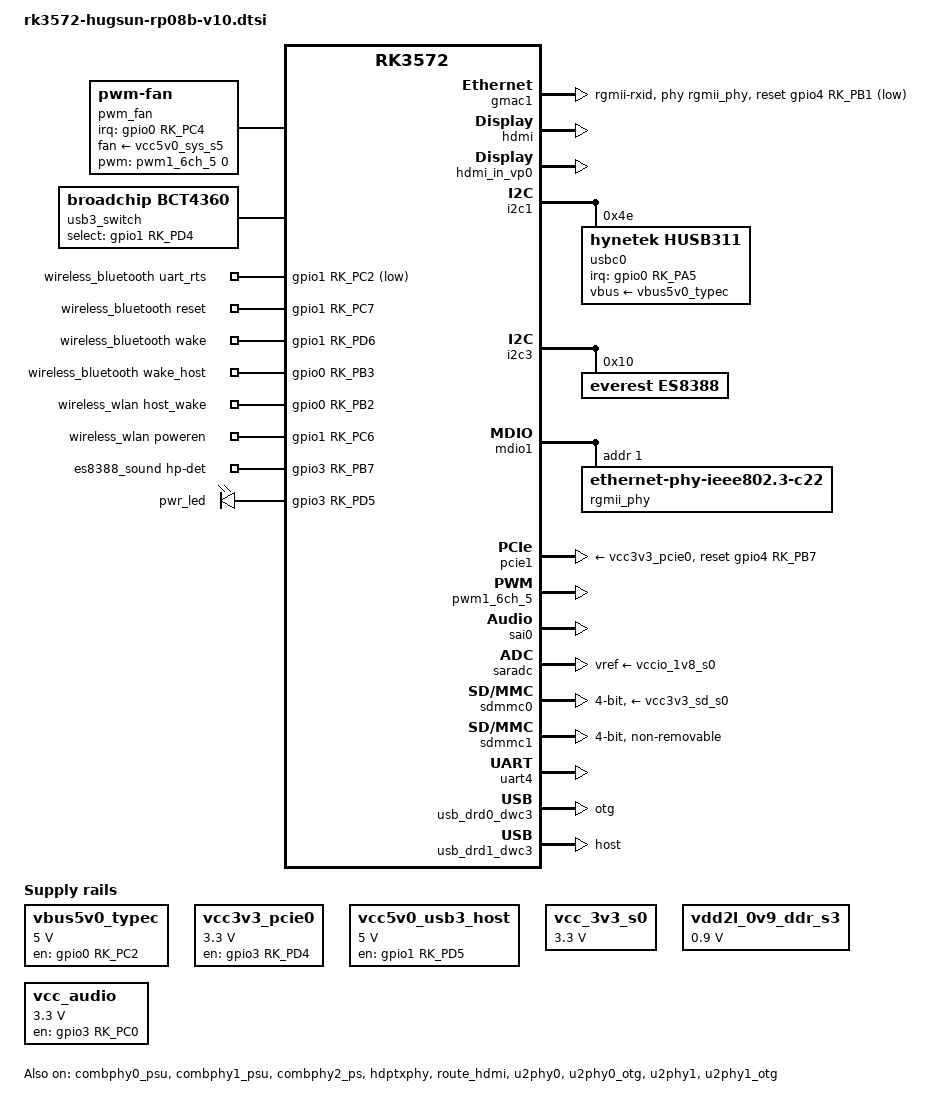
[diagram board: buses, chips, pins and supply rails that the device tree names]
// SPDX-License-Identifier: (GPL-2.0+ OR MIT)
/*
 * Copyright (c) 2025 Rockchip Electronics Co., Ltd.
 */

#include <dt-bindings/usb/pd.h>
#include "rk3572.dtsi"
#include "rk3572-hugsun.dtsi"
#include "rk3572-rk806.dtsi"

#include "rk3572_cam1_imx415.dtsi"
#include "rk3572-rp08b-mipi.dtsi"
/ {
	pwm_fan: pwm-fan {
		compatible = "pwm-fan";
		pwms = <&pwm1_6ch_5 0 40000 PWM_POLARITY_INVERTED>;
		#cooling-cells = <2>;
		cooling-levels = <255 170 85 0>;
		fan-supply = <&vcc5v0_sys_s5>;
		pinctrl-names = "default";
		pinctrl-0 = <&fan_tach>;	
		interrupt-parent = <&gpio0>;
		interrupts = <RK_PC4 IRQ_TYPE_EDGE_RISING>;
		pulses-per-revolution = <2>;
	};	

	/*
	buzzer: pwm-beeper {
		compatible = "pwm-beeper";
		amp-supply = <&vcc5v0_sys_s5>;
		beeper-hz = <500>;
		pwms = <&pwm8 0 500000 0>;
	};
	*/	

	sdio_pwrseq: sdio-pwrseq {
		compatible = "mmc-pwrseq-simple";
		pinctrl-names = "default";
		pinctrl-0 = <&wifi_poweren_gpio>;
	};

	usb3_switch: usb3-switch {
		compatible = "broadchip,bct4360", "gpio-sbu-mux";
		select-gpios = <&gpio1 RK_PD4 GPIO_ACTIVE_HIGH>;
		pinctrl-names = "default";
		pinctrl-0 = <&usb3_switch_default>;
		orientation-switch;
	};

	vbus5v0_typec: vbus5v0-typec {
		compatible = "regulator-fixed";
		regulator-name = "vbus5v0_typec";
		regulator-min-microvolt = <5000000>;
		regulator-max-microvolt = <5000000>;
		enable-active-high;
		gpio = <&gpio0 RK_PC2 GPIO_ACTIVE_HIGH>;
		pinctrl-names = "default";
		pinctrl-0 = <&usb_drd0_pwren>;
	};

	vcc3v3_pcie0: vcc3v3-pcie0 {
		compatible = "regulator-fixed";
		regulator-name = "vcc3v3_pcie0";
		enable-active-high;
		regulator-min-microvolt = <3300000>;
		regulator-max-microvolt = <3300000>;
		gpio = <&gpio3 RK_PD4 GPIO_ACTIVE_HIGH>;
	};

	vcc5v0_usb3_host: vcc5v0-usb3-host {
		compatible = "regulator-fixed";
		regulator-name = "vcc5v0_usb3_host";
		regulator-boot-on;
		regulator-always-on;
		regulator-min-microvolt = <5000000>;
		regulator-max-microvolt = <5000000>;
		enable-active-high;
		gpio = <&gpio1 RK_PD5 GPIO_ACTIVE_HIGH>;
		pinctrl-names = "default";
		pinctrl-0 = <&usb_drd1_pwren>;
	};

	vcc_3v3_s0: vcc-3v3-s0 {
		compatible = "regulator-fixed";
		regulator-name = "vcc_3v3_s0";
		regulator-boot-on;
		regulator-always-on;
		regulator-min-microvolt = <3300000>;
		regulator-max-microvolt = <3300000>;
	};

	vdd2l_0v9_ddr_s3: vdd2l-0v9-ddr-s3 {
		compatible = "regulator-fixed";
		regulator-name = "vdd2l_0v9_ddr_s3";
		regulator-boot-on;
		regulator-always-on;
		regulator-min-microvolt = <900000>;
		regulator-max-microvolt = <900000>;
	};

	/* GPIO3_C0: audio/headphone-amp power supply, active high, always on.
	 * (was hp-con-gpio of es8388-sound, gated by DAPM during playback)
	 */
	vcc_audio: vcc-audio {
		compatible = "regulator-fixed";
		regulator-name = "vcc_audio";
		regulator-boot-on;
		regulator-always-on;
		regulator-min-microvolt = <3300000>;
		regulator-max-microvolt = <3300000>;
		enable-active-high;
		gpio = <&gpio3 RK_PC0 GPIO_ACTIVE_HIGH>;
		pinctrl-names = "default";
		pinctrl-0 = <&hp_con>;
	};

	wireless_bluetooth: wireless-bluetooth {
		compatible = "bluetooth-platdata";
		bt_port = "/dev/ttyS4";
		uart_rts-gpios = <&gpio1 RK_PC2 GPIO_ACTIVE_LOW>;
		pinctrl-names = "default", "rts_gpio";
		pinctrl-0 = <&uart4m1_rtsn_pins>;
		pinctrl-1 = <&uart4_gpios>;
		BT,reset-gpios    = <&gpio1 RK_PC7 GPIO_ACTIVE_HIGH>;
		BT,wake-gpios     = <&gpio1 RK_PD6 GPIO_ACTIVE_HIGH>;
		BT,wake_host-gpios = <&gpio0 RK_PB3 GPIO_ACTIVE_HIGH>;
		status = "okay";
	};

	wireless_wlan: wireless-wlan {
		compatible = "wlan-platdata";
		wifi_chip_type = "";
		pinctrl-names = "default";
		pinctrl-0 = <&wifi_host_wake_irq>;
		WIFI,host_wake-gpios = <&gpio0 RK_PB2 GPIO_ACTIVE_HIGH>;
		WIFI,poweren-gpios = <&gpio1 RK_PC6 GPIO_ACTIVE_HIGH>;
		status = "okay";
	};

	es8388_sound: es8388-sound {
		status = "okay";
		compatible = "rockchip,multicodecs-card";
		rockchip,card-name = "rockchip-es8388";
		/* headphone amp: LOUT2/ROUT2 -> HP jack (es8388 OUT2 stage);
		 * GPIO3_C0 audio power is supplied by vcc_audio regulator
		 */
		hp-det-gpio = <&gpio3 RK_PB7 GPIO_ACTIVE_HIGH>;
		rockchip,pre-power-on-delay-ms = <30>;
		rockchip,post-power-down-delay-ms = <40>;
		rockchip,format = "i2s";
		rockchip,mclk-fs = <256>;
		rockchip,cpu = <&sai0>;
		rockchip,codec = <&es8388>;
		rockchip,audio-routing =
			"Headphone", "LOUT2",
			"Headphone", "ROUT2",
			"Headphone", "Headphone Power",
			/* line in 2 (LINPUT2/RINPUT2) -> mic */
			"LINPUT2", "Main Mic",
			"RINPUT2", "Main Mic";
		pinctrl-names = "default";
		pinctrl-0 = <&hp_det>;
	};
};

&bigcore_thermal {
	sustainable-power = <5000>;

	trips {
		pwm_fan_low: pwm-fan-low {
			temperature = <50000>;
			hysteresis = <2000>;
			type = "active";
		};

		pwm_fan_high: pwm-fan-high {
			temperature = <65000>;
			hysteresis = <2000>;
			type = "active";
		};
	};

	cooling-maps {
		map0 {
			trip = <&pwm_fan_low>;
			cooling-device = <&pwm_fan 1 1>;
		};

		map1 {
			trip = <&pwm_fan_high>;
			cooling-device = <&pwm_fan 2 3>;
		};
	};
};

&combphy0_psu {
	status = "okay";
};

&combphy1_psu {
	status = "okay";
};

&combphy2_ps {
	status = "okay";
};

&gmac1 {
	/* Use rgmii-rxid mode to disable rx delay inside Soc */
	phy-mode = "rgmii-rxid";
	clock_in_out = "output";

	snps,reset-gpio = <&gpio4 RK_PB1 GPIO_ACTIVE_LOW>;
	snps,reset-active-low;
	/* Reset time is 20ms, 100ms for rtl8211f */
	snps,reset-delays-us = <0 20000 100000>;

	pinctrl-names = "default";
	pinctrl-0 = <&eth1m0_miim_pins
		     &eth1m0_tx_bus2_pins
		     &eth1m0_rx_bus2_pins
		     &eth1m0_rgmii_clk_pins
		     &eth1m0_rgmii_bus_pins
		     &ethm0_clk1_25m_out_pins>;

	tx_delay = <0x20>;
	/* rx_delay = <0x3f>; */

	phy-handle = <&rgmii_phy>;
	status = "okay";
};

&hdmi {
	enable-gpios = <&gpio0 RK_PD0 GPIO_ACTIVE_HIGH>;
	status = "okay";
	rockchip,sda-falling-delay-ns = <360>;
	pinctrl-names = "default";
	pinctrl-0 = <&hdmi_txm0_cec_pins &hdmi_txm0_ddc_pins &hdmi_txm1_hpdin_pins>;
};

&hdmi_in_vp0 {
	status = "okay";
};

&hdptxphy {
	status = "okay";
};

&i2c1 {
	status = "okay";

	usbc0: husb311@4e {
		compatible = "hynetek,husb311";
		reg = <0x4e>;
		interrupt-parent = <&gpio0>;
		interrupts = <RK_PA5 IRQ_TYPE_LEVEL_LOW>;
		pinctrl-names = "default";
		pinctrl-0 = <&usbc0_int>;
		vbus-supply = <&vbus5v0_typec>;
		status = "okay";

		usb_con0: connector {
			compatible = "usb-c-connector";
			label = "USB-C";
			data-role = "dual";
			power-role = "dual";
			try-power-role = "sink";
			op-sink-microwatt = <1000000>;
			orientation-switch = <&usb3_switch &u2phy0>;
			usb-role-switch = <&usb_drd0_dwc3>;

			sink-pdos = <PDO_FIXED(5000, 1000, PDO_FIXED_DATA_SWAP | PDO_FIXED_USB_COMM | PDO_FIXED_EXTPOWER | PDO_FIXED_DUAL_ROLE)>;
			source-pdos = <PDO_FIXED(5000, 3000, PDO_FIXED_DATA_SWAP | PDO_FIXED_USB_COMM | PDO_FIXED_EXTPOWER | PDO_FIXED_DUAL_ROLE)>;
		};
	};
};

&i2c3 {
	status = "okay";

	es8388: es8388@10 {
		status = "okay";
		#sound-dai-cells = <0>;
		compatible = "everest,es8388", "everest,es8323";
		reg = <0x10>;
		/* MCLK from SoC SAI0 mclk pin (GPIO2_C7, sai0 m0) */
		clocks = <&mclkout_sai0>;
		clock-names = "mclk";
		assigned-clocks = <&mclkout_sai0>;
		assigned-clock-rates = <12288000>;
		pinctrl-names = "default";
		pinctrl-0 = <&sai0m2_mclk_pins>;
	};
};

&leds {
	
	pwr_led: pwr-led {
		gpios = <&gpio3 RK_PD5 GPIO_ACTIVE_HIGH>;
		default-state = "off";
	};

	status = "okay";
};

&mdio1 {
	rgmii_phy: phy@1 {
		compatible = "ethernet-phy-ieee802.3-c22";
		reg = <0x1>;
		clocks = <&cru REFCLKO25M_GMAC1_OUT>;
	};
};

&pcie0 {
	phys = <&combphy1_psu PHY_TYPE_PCIE>;
	reset-gpios = <&gpio4 RK_PB7 GPIO_ACTIVE_HIGH>;
	vpcie3v3-supply = <&vcc3v3_pcie0>;

	/*
	 * Disable usb_drd1_dwc3 or change it to usb2.0 if enabling pcie0 and
	 * set U1800 and U1801 to high state according to the schematic of page 18.
	 */
	status = "disabled";
};


&pcie1 {
	reset-gpios = <&gpio4 RK_PB7 GPIO_ACTIVE_HIGH>;
	vpcie3v3-supply = <&vcc3v3_pcie0>;

	status = "okay";
};



&pinctrl {

	headphone {
		hp_det: hp-det {
			/* jack detect, low when headphone inserted */
			rockchip,pins = <3 RK_PB7 RK_FUNC_GPIO &pcfg_pull_down>;
		};

		hp_con: hp-con {
			/* audio/amp power (vcc_audio), active high */
			rockchip,pins = <3 RK_PC0 RK_FUNC_GPIO &pcfg_pull_none>;
		};
	};



	usb {
		usb3_switch_default: usb3-switch-default {
			rockchip,pins = <1 RK_PD4 RK_FUNC_GPIO &pcfg_pull_none>;
		};

		usb_drd0_pwren: usb-drd0-pwren {
			rockchip,pins = <0 RK_PC2 RK_FUNC_GPIO &pcfg_pull_none>;
		};

		usb_drd1_pwren: usb-drd1-pwren {
			rockchip,pins = <1 RK_PD5 RK_FUNC_GPIO &pcfg_pull_none>;
		};

		usbc0_int: usbc0-int {
			rockchip,pins = <0 RK_PA5 RK_FUNC_GPIO &pcfg_pull_up>;
		};
	};

	wireless-bluetooth {
		uart4_gpios: uart4-gpios {
			rockchip,pins = <1 RK_PC2 RK_FUNC_GPIO &pcfg_pull_none>;
		};
	};

	wireless-wlan {
		wifi_host_wake_irq: wifi-host-wake-irq {
			rockchip,pins = <0 RK_PB2 RK_FUNC_GPIO &pcfg_pull_down>;
		};

		wifi_poweren_gpio: wifi-poweren-gpio {
			rockchip,pins = <1 RK_PC6 RK_FUNC_GPIO &pcfg_pull_up>;
		};
	};

	pwn_fan {
		fan_tach:fan-tach{
			rockchip,pins = <0 RK_PC4 RK_FUNC_GPIO &pcfg_pull_down>;
		};
	};	
};

&pwm1_6ch_5 {
	pinctrl-0 = <&pwm1m0_ch5_pins>;
	status = "okay";
};

&route_hdmi {
	status = "okay";
	connect = <&vp0_out_hdmi>;
};


&sai0 {
	status = "okay";
	pinctrl-names = "default";
	pinctrl-0 = <&sai0m2_lrck_pins
		     &sai0m2_sclk_pins
		     &sai0m2_sdi0_pins
		     &sai0m2_sdo0_pins>;
};

&saradc {
	status = "okay";
	vref-supply = <&vccio_1v8_s0>;
};


&sdmmc0 {
	bus-width = <4>;
	cap-mmc-highspeed;
	cap-sd-highspeed;
	disable-wp;
	max-frequency = <200000000>;
	pinctrl-names = "default";
	pinctrl-0 = <&sdmmc0m0_bus4_pins &sdmmc0m0_clk_pins &sdmmc0m0_cmd_pins
				     &sdmmc0m0_det_pins>;	
	supports-sd;
	sd-uhs-sdr12;
	sd-uhs-sdr25;
	sd-uhs-sdr50;
	sd-uhs-sdr104;
	vmmc-supply = <&vcc3v3_sd_s0>;
	vqmmc-supply = <&vccio_sd_s0>;
	status = "okay";
};
&sdmmc1 {
	max-frequency = <200000000>;
	no-sd;
	no-mmc;
	bus-width = <4>;
	cap-sd-highspeed;
	cap-sdio-irq;
	keep-power-in-suspend;
	mmc-pwrseq = <&sdio_pwrseq>;
	non-removable;
	pinctrl-names = "default";
	pinctrl-0 = <&sdmmc1_bus4_pins &sdmmc1_clk_pins &sdmmc1_cmd_pins>;
	sd-uhs-sdr104;
	status = "okay";
};

&uart4 {
	status = "okay";
};


&u2phy0 {
	orientation-switch;
	status = "okay";
};

&u2phy0_otg {
	rockchip,typec-vbus-det;
	status = "okay";
};

&u2phy1 {
	status = "okay";
};

&u2phy1_otg {
	phy-supply = <&vcc5v0_usb3_host>;
	status = "okay";
};

&usb_drd0_dwc3 {
	dr_mode = "otg";
	usb-role-switch;
	status = "okay";
};

&usb_drd1_dwc3 {
	dr_mode = "host";
	status = "okay";
};


